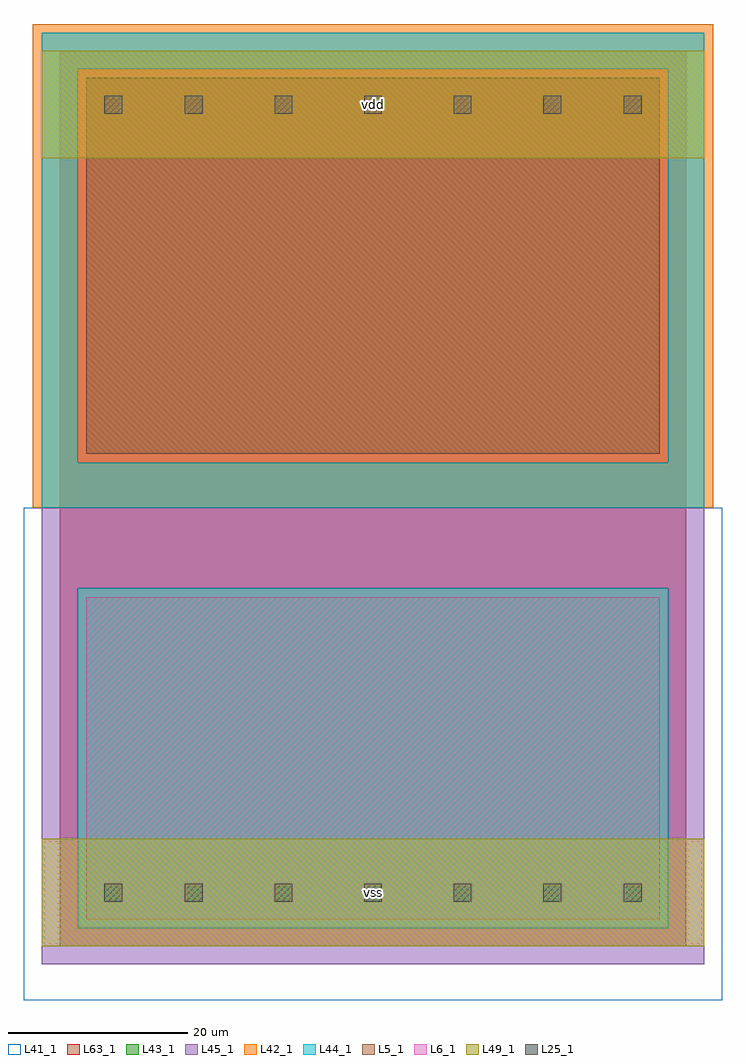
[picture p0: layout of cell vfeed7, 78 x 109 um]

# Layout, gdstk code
import gdstk
lib = gdstk.Library(unit=1e-6, precision=1e-09)
def R(c, l, rs):  # rectangles x0, y0, x1, y1
    for r in rs: c.add(gdstk.rectangle(r[:2], r[2:], *l))
def A(c, l, x, y, w, h, nx, ny, dx, dy):  # array of equal rectangles
    R(c, l, [(x+i*dx, y+j*dy, x+i*dx+w, y+j*dy+h) for i in range(nx) for j in range(ny)])
L5_1 = (5, 1)
L6_1 = (6, 1)
L25_1 = (25, 1)
L41_1 = (41, 1)
L42_1 = (42, 1)
L43_1 = (43, 1)
L44_1 = (44, 1)
L45_1 = (45, 1)
L49_1 = (49, 1)
L63_1 = (63, 1)

vfeed7 = lib.new_cell('vfeed7')
R(vfeed7, L5_1, [(3,55,67,97)])
R(vfeed7, L6_1, [(3,3,67,39)])
A(vfeed7, L25_1, 14, 5, 2, 2, 5, 2, 10, 88)
R(vfeed7, L25_1, [(5,5,7,7), (63,5,65,7), (5,93,7,95), (63,93,65,95)])
R(vfeed7, L41_1, [(-4,-6,74,49), (-3,-3,73,49)])
R(vfeed7, L42_1, [(-3,49,73,103)])
R(vfeed7, L43_1, [(3,3,67,39), (3,55,67,97)])
R(vfeed7, L44_1, [(2,2,68,40), (-2,49,72,54), (-2,54,2,98), (68,54,72,98), (-2,98,72,102)])
R(vfeed7, L45_1, [(-2,-2,72,2), (-2,2,2,40), (68,2,72,40), (-2,40,72,49), (2,54,68,98)])
R(vfeed7, L49_1, [(-2,0,72,12), (-2,88,72,100)])
R(vfeed7, L63_1, [(0,0,70,100)])
vfeed7.add(gdstk.Label('vss', (35,6), layer=49, texttype=1))
vfeed7.add(gdstk.Label('vss', (35,6), layer=49, texttype=1))
vfeed7.add(gdstk.Label('vdd', (35,94), layer=49, texttype=1))
vfeed7.add(gdstk.Label('vdd', (35,94), layer=49, texttype=1))

lib.write_gds('vfeed7.gds')
